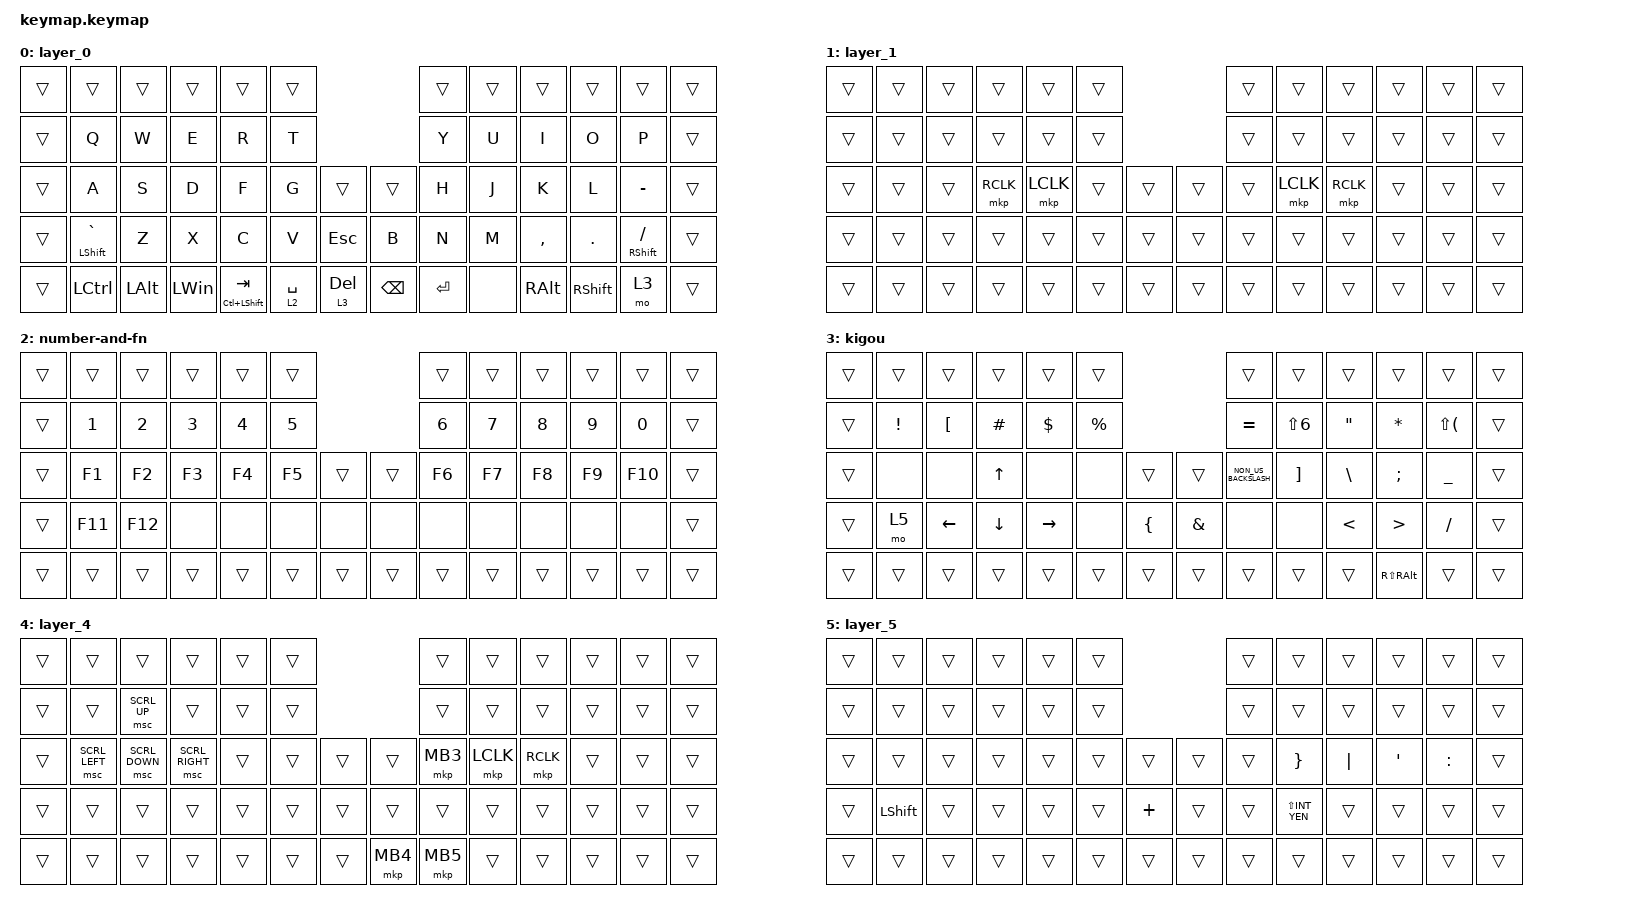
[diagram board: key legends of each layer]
#include <layout_shift_kp_override.dtsi>
#include <behaviors.dtsi>
#include <dt-bindings/zmk/bt.h>
#include <dt-bindings/zmk/keys.h>
#include <dt-bindings/zmk/pointing.h>

/ {
    combos {
        compatible = "zmk,combos";

        bt_clear {
            bindings = <&bt BT_CLR>;
            key-positions = <28 29>;
        };
    };

    keymap {
        compatible = "zmk,keymap";

        layer_0 {
            bindings = <
&trans  &trans                &trans        &trans        &trans             &trans                                  &trans     &trans  &trans     &trans           &trans                &trans
&trans  &kp Q                 &kp W         &kp E         &kp R              &kp T                                   &kp Y      &kp U   &kp I      &kp O            &kp P                 &trans
&trans  &kp A                 &kp S         &kp D         &kp F              &kp G        &trans      &trans         &kp H      &kp J   &kp K      &kp L            &kp MINUS             &trans
&trans  &mt LEFT_SHIFT GRAVE  &kp Z         &kp X         &kp C              &kp V        &kp ESCAPE  &kp B          &kp N      &kp M   &kp COMMA  &kp DOT          &mt RIGHT_SHIFT FSLH  &trans
&trans  &kp LCTRL             &kp LEFT_ALT  &kp LEFT_WIN  &mt LC(LSHFT) TAB  &lt 2 SPACE  &lt 3 DEL   &kp BACKSPACE  &kp ENTER  &none   &kp RALT   &kp RIGHT_SHIFT  &mo 3                 &trans
            >;
        };

        layer_1 {
            bindings = <
&trans  &trans  &trans  &trans     &trans     &trans                  &trans  &trans     &trans     &trans  &trans  &trans
&trans  &trans  &trans  &trans     &trans     &trans                  &trans  &trans     &trans     &trans  &trans  &trans
&trans  &trans  &trans  &mkp RCLK  &mkp LCLK  &trans  &trans  &trans  &trans  &mkp LCLK  &mkp RCLK  &trans  &trans  &trans
&trans  &trans  &trans  &trans     &trans     &trans  &trans  &trans  &trans  &trans     &trans     &trans  &trans  &trans
&trans  &trans  &trans  &trans     &trans     &trans  &trans  &trans  &trans  &trans     &trans     &trans  &trans  &trans
            >;
        };

        number-and-fn {
            bindings = <
&trans  &trans        &trans        &trans        &trans        &trans                        &trans        &trans        &trans        &trans        &trans        &trans
&trans  &kp NUMBER_1  &kp NUMBER_2  &kp NUMBER_3  &kp NUMBER_4  &kp NUMBER_5                  &kp NUMBER_6  &kp NUMBER_7  &kp NUMBER_8  &kp NUMBER_9  &kp NUMBER_0  &trans
&trans  &kp F1        &kp F2        &kp F3        &kp F4        &kp F5        &trans  &trans  &kp F6        &kp F7        &kp F8        &kp F9        &kp F10       &trans
&trans  &kp F11       &kp F12       &none         &none         &none         &none   &none   &none         &none         &none         &none         &none         &trans
&trans  &trans        &trans        &trans        &trans        &trans        &trans  &trans  &trans        &trans        &trans        &trans        &trans        &trans
            >;
        };

        kigou {
            bindings = <
&trans  &trans    &trans            &trans          &trans      &trans                                      &trans                &trans             &trans             &trans             &trans                    &trans
&trans  &kp EXCL  &kp LEFT_BRACKET  &kp HASH        &kp DOLLAR  &kp PERCENT                                 &kp EQUAL             &kp LS(NUMBER_6)   &kp DOUBLE_QUOTES  &kp ASTERISK       &kp LS(LEFT_PARENTHESIS)  &trans
&trans  &none     &none             &kp UP_ARROW    &none       &none        &trans          &trans         &kp NON_US_BACKSLASH  &kp RIGHT_BRACKET  &kp BACKSLASH      &kp SEMICOLON      &kp UNDER                 &trans
&trans  &mo 5     &kp LEFT_ARROW    &kp DOWN_ARROW  &kp RIGHT   &none        &kp LEFT_BRACE  &kp AMPERSAND  &none                 &none              &kp LESS_THAN      &kp GREATER_THAN   &kp SLASH                 &trans
&trans  &trans    &trans            &trans          &trans      &trans       &trans          &trans         &trans                &trans             &trans             &kp RS(RIGHT_ALT)  &trans                    &trans
            >;
        };

        layer_4 {
            bindings = <
&trans  &trans          &trans          &trans           &trans  &trans                    &trans    &trans     &trans     &trans  &trans  &trans
&trans  &trans          &msc SCRL_UP    &trans           &trans  &trans                    &trans    &trans     &trans     &trans  &trans  &trans
&trans  &msc SCRL_LEFT  &msc SCRL_DOWN  &msc SCRL_RIGHT  &trans  &trans  &trans  &trans    &mkp MB3  &mkp LCLK  &mkp RCLK  &trans  &trans  &trans
&trans  &trans          &trans          &trans           &trans  &trans  &trans  &trans    &trans    &trans     &trans     &trans  &trans  &trans
&trans  &trans          &trans          &trans           &trans  &trans  &trans  &mkp MB4  &mkp MB5  &trans     &trans     &trans  &trans  &trans
            >;
        };

        layer_5 {
            bindings = <
&trans  &trans          &trans  &trans  &trans  &trans                    &trans  &trans           &trans    &trans   &trans     &trans
&trans  &trans          &trans  &trans  &trans  &trans                    &trans  &trans           &trans    &trans   &trans     &trans
&trans  &trans          &trans  &trans  &trans  &trans  &trans    &trans  &trans  &kp RIGHT_BRACE  &kp PIPE  &kp SQT  &kp COLON  &trans
&trans  &kp LEFT_SHIFT  &trans  &trans  &trans  &trans  &kp PLUS  &trans  &trans  &kp LS(INT_YEN)  &trans    &trans   &trans     &trans
&trans  &trans          &trans  &trans  &trans  &trans  &trans    &trans  &trans  &trans           &trans    &trans   &trans     &trans
            >;
        };
    };
};
